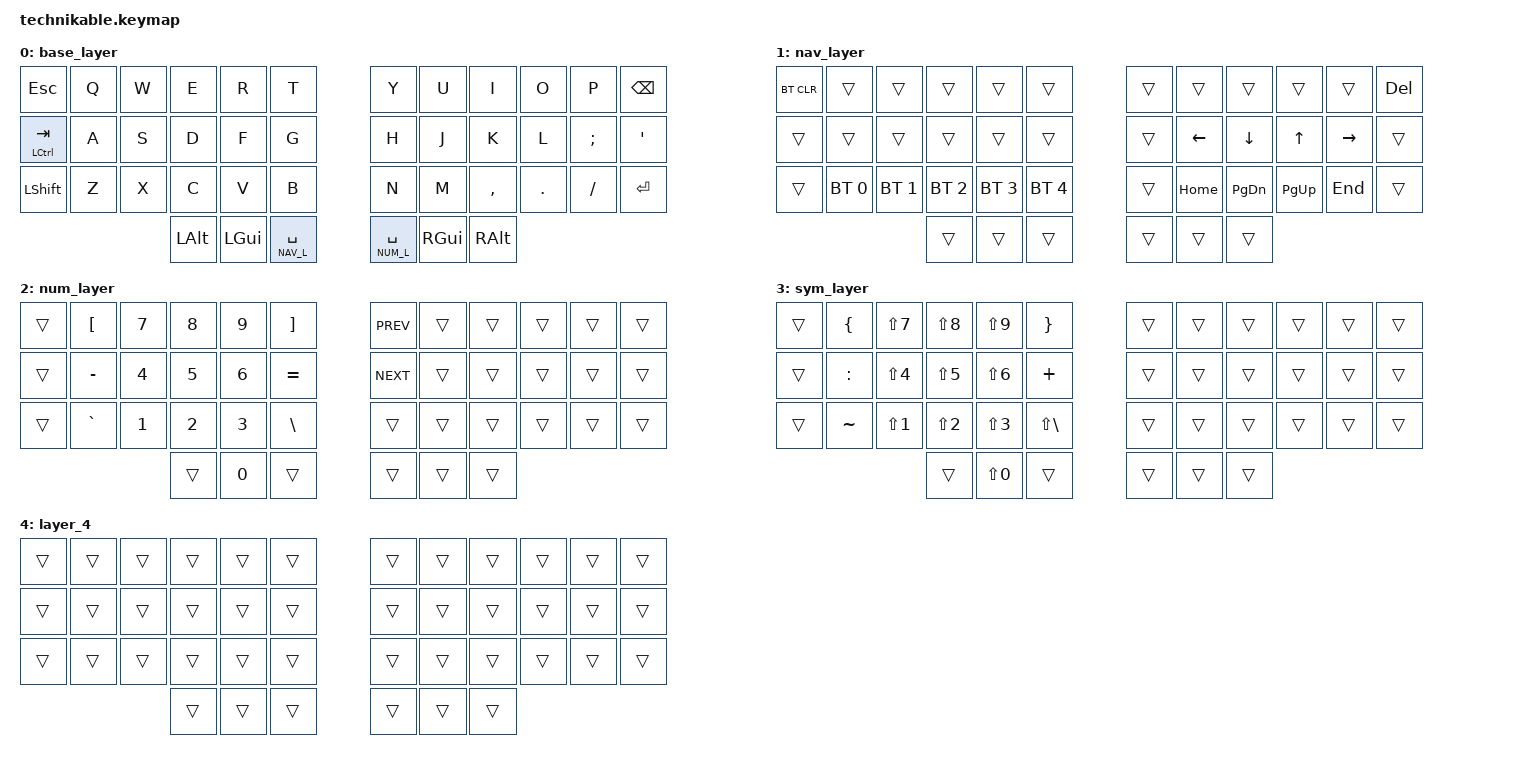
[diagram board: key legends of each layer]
/*
 * Copyright (c) 2022 Pete Johanson
 *
 * SPDX-License-Identifier: MIT
 */

#include <behaviors.dtsi>
#include <dt-bindings/zmk/bt.h>
#include <dt-bindings/zmk/keys.h>

#define BAS_L 0
#define NAV_L 1
#define NUM_L 2
#define SYM_L 3

// Using layer taps on thumbs, having quick tap as well helps w/ repeating space/backspace

&lt { quick_tap_ms = <200>; };

/ {
    chosen { zmk,matrix_transform = &dual_2u_transform; };

    conditional_layers {
        compatible = "zmk,conditional-layers";

        tri_layer {
            if-layers = <NAV_L NUM_L>;
            then-layer = <SYM_L>;
        };
    };

    keymap {
        compatible = "zmk,keymap";

        base_layer {
            bindings = <
&kp ESC               &kp Q  &kp W         &kp E         &kp R            &kp T                   &kp Y              &kp U          &kp I          &kp O    &kp P     &kp BACKSPACE
&mt LEFT_CONTROL TAB  &kp A  &kp S         &kp D         &kp F            &kp G                   &kp H              &kp J          &kp K          &kp L    &kp SEMI  &kp SINGLE_QUOTE
&kp LSHFT             &kp Z  &kp X         &kp C         &kp V            &kp B                   &kp N              &kp M          &kp COMMA      &kp DOT  &kp FSLH  &kp RET
                             &kp LEFT_ALT  &kp LEFT_GUI  &lt NAV_L SPACE                          &lt NUM_L SPACE    &kp RIGHT_GUI  &kp RIGHT_ALT
            >;
        };

        nav_layer {
            bindings = <
&bt BT_CLR  &trans        &trans        &trans        &trans        &trans                &trans  &trans          &trans          &trans        &trans           &kp DEL
&trans      &trans        &trans        &trans        &trans        &trans                &trans  &kp LEFT_ARROW  &kp DOWN_ARROW  &kp UP_ARROW  &kp RIGHT_ARROW  &trans
&trans      &bt BT_SEL 0  &bt BT_SEL 1  &bt BT_SEL 2  &bt BT_SEL 3  &bt BT_SEL 4          &trans  &kp HOME        &kp PG_DN       &kp PG_UP     &kp END          &trans
                          &trans        &trans        &trans                                      &trans          &trans          &trans
            >;
        };

        num_layer {
            bindings = <
&trans  &kp LBKT   &kp N7  &kp N8  &kp N9  &kp RBKT           &kp C_PREV  &trans  &trans  &trans  &trans  &trans
&trans  &kp MINUS  &kp N4  &kp N5  &kp N6  &kp EQUAL          &kp C_NEXT  &trans  &trans  &trans  &trans  &trans
&trans  &kp GRAVE  &kp N1  &kp N2  &kp N3  &kp BSLH           &trans      &trans  &trans  &trans  &trans  &trans
                   &trans  &kp N0  &trans                                 &trans  &trans  &trans
            >;
        };

        sym_layer {
            bindings = <
&trans  &kp LBRC   &kp LS(N7)  &kp LS(N8)  &kp LS(N9)  &kp RBRC              &trans  &trans  &trans  &trans  &trans  &trans
&trans  &kp COLON  &kp LS(N4)  &kp LS(N5)  &kp LS(N6)  &kp PLUS              &trans  &trans  &trans  &trans  &trans  &trans
&trans  &kp TILDE  &kp LS(N1)  &kp LS(N2)  &kp LS(N3)  &kp LS(BSLH)          &trans  &trans  &trans  &trans  &trans  &trans
                   &trans      &kp LS(N0)  &trans                                    &trans  &trans  &trans
            >;
        };

        layer_4 {
            bindings = <
&trans  &trans  &trans  &trans  &trans  &trans          &trans  &trans  &trans  &trans  &trans  &trans
&trans  &trans  &trans  &trans  &trans  &trans          &trans  &trans  &trans  &trans  &trans  &trans
&trans  &trans  &trans  &trans  &trans  &trans          &trans  &trans  &trans  &trans  &trans  &trans
                &trans  &trans  &trans                          &trans  &trans  &trans
            >;
        };
    };
};
